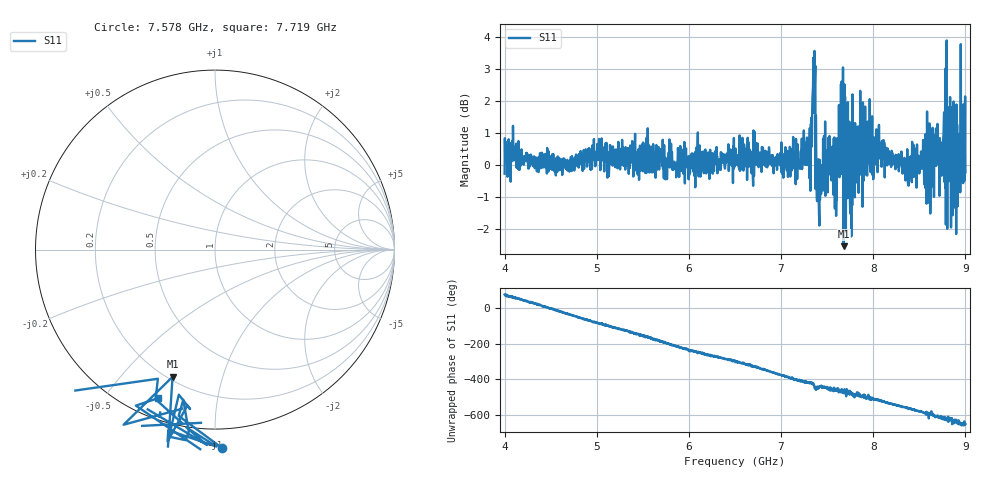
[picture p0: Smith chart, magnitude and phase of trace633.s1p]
! Created with skrf 1.8.0 (http://scikit-rf.org).
# Hz S RI R 50.0
!freq ReS11 ImS11
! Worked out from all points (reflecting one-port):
!   1601 points, 4 GHz to 9 GHz, reference 50 ohm
!   lowest |S11| = -2.5 dB at 7.678 GHz (marker M1), VSWR 6.91, Z = 10.9 - j34.9 ohm
!   phase of S11 starts at 73 deg and turns -724 deg over the sweep
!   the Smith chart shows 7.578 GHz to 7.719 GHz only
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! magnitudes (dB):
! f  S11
! 4 GHz  -0.3
! 4.1 GHz  0.1
! 4.625 GHz  -0.3
! 5.25 GHz  0.2
! 5.875 GHz  0.0
! 6.5 GHz  0.2
! 7.125 GHz  0.4
! 7.294 GHz  0.0
! 7.316 GHz  0.2
! 7.347 GHz  2.5
! 7.369 GHz  2.9
! 7.4 GHz  -0.3
! 7.409 GHz  -1.1
! 7.478 GHz  1.4
! 7.609 GHz  0.3
! 7.65 GHz  2.5
! 7.678 GHz  -2.5
! 7.75 GHz  -1.5
! 7.834 GHz  1.0
! 7.938 GHz  0.8
! 7.991 GHz  -0.3
! 8.088 GHz  0.0
! 8.375 GHz  0.0
! 8.728 GHz  0.2
! 8.775 GHz  1.1
! 8.875 GHz  0.5
! 8.972 GHz  0.8
! 9 GHz  -0.2
